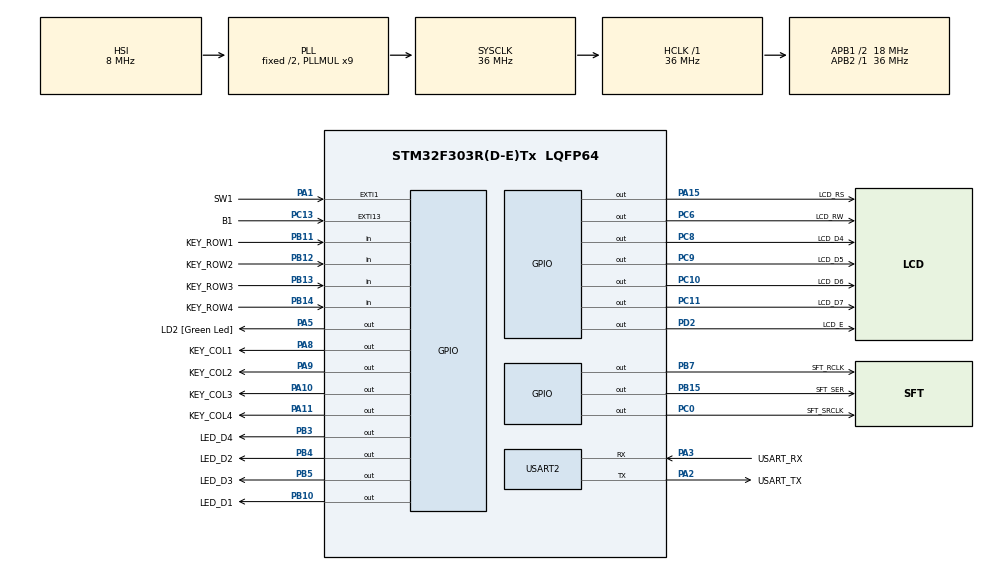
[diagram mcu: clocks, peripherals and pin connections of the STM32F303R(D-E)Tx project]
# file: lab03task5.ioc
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Mcu.Family=STM32F3
Mcu.Name=STM32F303R(D-E)Tx
Mcu.Package=LQFP64
NVIC.EXTI15_10_IRQn=true\:0\:0\:false\:false\:true\:true\:true\:true
NVIC.EXTI1_IRQn=true\:0\:0\:false\:false\:true\:true\:true\:true
NVIC.PriorityGroup=NVIC_PRIORITYGROUP_0
NVIC.TIM6_DAC_IRQn=true\:0\:0\:false\:false\:true\:true\:true\:true
PA1.GPIO_Label=SW1
PA1.Signal=GPXTI1
PA10.GPIO_Label=KEY_COL3
PA10.Signal=GPIO_Output
PA11.GPIO_Label=KEY_COL4
PA11.Signal=GPIO_Output
PA13.GPIO_Label=TMS
PA13.Mode=Serial_Wire
PA13.Signal=SYS_JTMS-SWDIO
PA14.GPIO_Label=TCK
PA14.Mode=Serial_Wire
PA14.Signal=SYS_JTCK-SWCLK
PA15.GPIO_Label=LCD_RS
PA15.Signal=GPIO_Output
PA2.GPIO_Label=USART_TX
PA2.GPIO_Mode=GPIO_MODE_AF_PP
PA2.GPIO_PuPd=GPIO_NOPULL
PA2.GPIO_Speed=GPIO_SPEED_FREQ_LOW
PA2.Mode=Asynchronous
PA2.Signal=USART2_TX
PA3.GPIO_Label=USART_RX
PA3.GPIO_Mode=GPIO_MODE_AF_PP
PA3.GPIO_PuPd=GPIO_NOPULL
PA3.GPIO_Speed=GPIO_SPEED_FREQ_LOW
PA3.Mode=Asynchronous
PA3.Signal=USART2_RX
PA5.GPIO_Label=LD2 [Green Led]
PA5.GPIO_Mode=GPIO_MODE_OUTPUT_PP
PA5.GPIO_PuPd=GPIO_NOPULL
PA5.GPIO_Speed=GPIO_SPEED_FREQ_LOW
PA5.Signal=GPIO_Output
PA8.GPIO_Label=KEY_COL1
PA8.Signal=GPIO_Output
PA9.GPIO_Label=KEY_COL2
PA9.Signal=GPIO_Output
PB10.GPIO_Label=LED_D1
PB10.Signal=GPIO_Output
PB11.GPIO_Label=KEY_ROW1
PB11.GPIO_PuPd=GPIO_PULLDOWN
PB11.Signal=GPIO_Input
PB12.GPIO_Label=KEY_ROW2
PB12.GPIO_PuPd=GPIO_PULLDOWN
PB12.Signal=GPIO_Input
PB13.GPIO_Label=KEY_ROW3
PB13.GPIO_PuPd=GPIO_PULLDOWN
PB13.Signal=GPIO_Input
PB14.GPIO_Label=KEY_ROW4
PB14.GPIO_PuPd=GPIO_PULLDOWN
PB14.Signal=GPIO_Input
PB15.GPIO_Label=SFT_SER
PB15.Signal=GPIO_Output
PB3.GPIO_Label=LED_D4
PB3.Signal=GPIO_Output
PB4.GPIO_Label=LED_D2
PB4.Signal=GPIO_Output
PB5.GPIO_Label=LED_D3
PB5.Signal=GPIO_Output
PB7.GPIO_Label=SFT_RCLK
PB7.Signal=GPIO_Output
PC0.GPIO_Label=SFT_SRCLK
PC0.Signal=GPIO_Output
PC10.GPIO_Label=LCD_D6
PC10.Signal=GPIO_Output
PC11.GPIO_Label=LCD_D7
PC11.Signal=GPIO_Output
PC13.GPIO_Label=B1
PC13.Signal=GPXTI13
PC14-OSC32_IN.Mode=LSE-External-Oscillator
PC14-OSC32_IN.Signal=RCC_OSC32_IN
PC15-OSC32_OUT.Mode=LSE-External-Oscillator
PC15-OSC32_OUT.Signal=RCC_OSC32_OUT
PC6.GPIO_Label=LCD_RW
PC6.Signal=GPIO_Output
PC8.GPIO_Label=LCD_D4
PC8.Signal=GPIO_Output
PC9.GPIO_Label=LCD_D5
PC9.Signal=GPIO_Output
PD2.GPIO_Label=LCD_E
PD2.Signal=GPIO_Output
PF0-OSC_IN.Mode=HSE-External-Clock-Source
PF0-OSC_IN.Signal=RCC_OSC_IN
PF1-OSC_OUT.Signal=RCC_OSC_OUT
ProjectManager.HeapSize=0x200
ProjectManager.StackSize=0x400
ProjectManager.TargetToolchain=STM32CubeIDE
RCC.AHBFreq_Value=36000000
RCC.APB1CLKDivider=RCC_HCLK_DIV2
RCC.APB1Freq_Value=18000000
RCC.APB1TimFreq_Value=36000000
RCC.APB2Freq_Value=36000000
RCC.APB2TimFreq_Value=36000000
RCC.CortexFreq_Value=36000000
RCC.HCLKFreq_Value=36000000
RCC.HSE_VALUE=8000000
RCC.HSI_VALUE=8000000
RCC.PLLM=8
RCC.PLLMUL=RCC_PLL_MUL9
RCC.PLLN=336
RCC.PLLP=RCC_PLLP_DIV4
RCC.PLLQ=7
RCC.RCC_PLLsource_Clock_Source_FROM_HSE=RCC_HSE_PREDIV_DIV2
RCC.SYSCLKFreq_VALUE=36000000
RCC.SYSCLKSourceVirtual=RCC_SYSCLKSOURCE_PLLCLK
RCC.USBFreq_Value=36000000
TIM6.Period=7199
TIM6.Prescaler=9999
USART2.VirtualMode-Asynchronous=VM_ASYNC
VP_TIM6_VS_ClockSourceINT.Mode=Enable_Timer
board=NUCLEO-F303RE

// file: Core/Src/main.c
/* USER CODE BEGIN Header */
/**
  ******************************************************************************
  * @file           : main.c
  * @brief          : Main program body
  ******************************************************************************
  * @attention
  *
  * Copyright (c) 2024 STMicroelectronics.
  * All rights reserved.
  *
  * This software is licensed under terms that can be found in the LICENSE file
  * in the root directory of this software component.
  * If no LICENSE file comes with this software, it is provided AS-IS.
  *
  ******************************************************************************
  */
/* USER CODE END Header */
#include "main.h"

/* USER CODE BEGIN Includes */
#include <string.h>
#include <stdio.h>
#include <stdbool.h>
/* USER CODE END Includes */

/* USER CODE BEGIN PD */
#define C_PORT GPIOA
#define R_PORT GPIOB
/* USER CODE END PD */

TIM_HandleTypeDef htim6;

UART_HandleTypeDef huart2;

/* USER CODE BEGIN PV */
uint8_t key_map[4][4] = {
		  {'1', '2', '3', 'A'},
		  {'4', '5', '6', 'B'},
		  {'7', '8', '9', 'C'},
		  {'*', '0', '#', 'D'}
};

bool is_done = false;
/* USER CODE END PV */

void SystemClock_Config(void);
static void MX_GPIO_Init(void);
static void MX_USART2_UART_Init(void);
static void MX_TIM6_Init(void);
/* USER CODE BEGIN PFP */
void LCD_putNibble(uint8_t data);
void LCD_enable();
void LCD_command(uint8_t command);
void LCD_data(uint8_t data);
void LCD_display(const char *str);
uint8_t KEY_scan(uint16_t *cols, uint16_t *rows);
bool syntax_check(uint8_t *value_arr, uint8_t counter);
uint32_t to_digit(uint8_t *value_arr, uint8_t counter);

extern void delay(uint32_t seconds);
/* USER CODE END PFP */

int main(void)
{

  /* MCU Configuration--------------------------------------------------------*/

  /* Reset of all peripherals, Initializes the Flash interface and the Systick. */
  HAL_Init();

  /* Configure the system clock */
  SystemClock_Config();

  /* Initialize all configured peripherals */
  MX_GPIO_Init();
  MX_USART2_UART_Init();
  MX_TIM6_Init();
  /* USER CODE BEGIN 2 */
  HAL_Delay(50);
  LCD_putNibble(0b0011);
  LCD_enable();
  LCD_putNibble(0b0011);
  LCD_enable();
  LCD_putNibble(0b0011);
  LCD_enable();
  LCD_putNibble(0b0010);
  LCD_enable();
  LCD_command(0b00101100);
  LCD_command(0b00001000);
  LCD_command(0b00000001);
  LCD_command(0b00000110);
  LCD_command(0b00001111);

  uint16_t col_pins[4] = { KEY_COL1_Pin, KEY_COL2_Pin, KEY_COL3_Pin, KEY_COL4_Pin };
  uint16_t row_pins[4] = { KEY_ROW1_Pin, KEY_ROW2_Pin, KEY_ROW3_Pin, KEY_ROW4_Pin };
  uint8_t value_arr[17];
  uint8_t key_value = 0;
  uint8_t counter = 0;

  /* USER CODE END 2 */

  /* Infinite loop */
  while (1)
  {

  }
}

void SystemClock_Config(void)
{
  RCC_OscInitTypeDef RCC_OscInitStruct = {0};
  RCC_ClkInitTypeDef RCC_ClkInitStruct = {0};
  RCC_PeriphCLKInitTypeDef PeriphClkInit = {0};

  /** Initializes the RCC Oscillators according to the specified parameters
  * in the RCC_OscInitTypeDef structure.
  */
  RCC_OscInitStruct.OscillatorType = RCC_OSCILLATORTYPE_HSI;
  RCC_OscInitStruct.HSIState = RCC_HSI_ON;
  RCC_OscInitStruct.HSICalibrationValue = RCC_HSICALIBRATION_DEFAULT;
  RCC_OscInitStruct.PLL.PLLState = RCC_PLL_ON;
  RCC_OscInitStruct.PLL.PLLSource = RCC_PLLSOURCE_HSI;
  RCC_OscInitStruct.PLL.PLLMUL = RCC_PLL_MUL9;
  RCC_OscInitStruct.PLL.PREDIV = RCC_PREDIV_DIV1;
  if (HAL_RCC_OscConfig(&RCC_OscInitStruct) != HAL_OK)
  {
    Error_Handler();
  }

  /** Initializes the CPU, AHB and APB buses clocks
  */
  RCC_ClkInitStruct.ClockType = RCC_CLOCKTYPE_HCLK|RCC_CLOCKTYPE_SYSCLK
                              |RCC_CLOCKTYPE_PCLK1|RCC_CLOCKTYPE_PCLK2;
  RCC_ClkInitStruct.SYSCLKSource = RCC_SYSCLKSOURCE_PLLCLK;
  RCC_ClkInitStruct.AHBCLKDivider = RCC_SYSCLK_DIV1;
  RCC_ClkInitStruct.APB1CLKDivider = RCC_HCLK_DIV2;
  RCC_ClkInitStruct.APB2CLKDivider = RCC_HCLK_DIV1;

  if (HAL_RCC_ClockConfig(&RCC_ClkInitStruct, FLASH_LATENCY_1) != HAL_OK)
  {
    Error_Handler();
  }
  PeriphClkInit.PeriphClockSelection = RCC_PERIPHCLK_USART2;
  PeriphClkInit.Usart2ClockSelection = RCC_USART2CLKSOURCE_PCLK1;
  if (HAL_RCCEx_PeriphCLKConfig(&PeriphClkInit) != HAL_OK)
  {
    Error_Handler();
  }
}

static void MX_TIM6_Init(void)
{

  TIM_MasterConfigTypeDef sMasterConfig = {0};

  htim6.Instance = TIM6;
  htim6.Init.Prescaler = 9999;
  htim6.Init.CounterMode = TIM_COUNTERMODE_UP;
  htim6.Init.Period = 7199;
  htim6.Init.AutoReloadPreload = TIM_AUTORELOAD_PRELOAD_DISABLE;
  if (HAL_TIM_Base_Init(&htim6) != HAL_OK)
  {
    Error_Handler();
  }
  sMasterConfig.MasterOutputTrigger = TIM_TRGO_RESET;
  sMasterConfig.MasterSlaveMode = TIM_MASTERSLAVEMODE_DISABLE;
  if (HAL_TIMEx_MasterConfigSynchronization(&htim6, &sMasterConfig) != HAL_OK)
  {
    Error_Handler();
  }

}

static void MX_USART2_UART_Init(void)
{

  huart2.Instance = USART2;
  huart2.Init.BaudRate = 38400;
  huart2.Init.WordLength = UART_WORDLENGTH_8B;
  huart2.Init.StopBits = UART_STOPBITS_1;
  huart2.Init.Parity = UART_PARITY_NONE;
  huart2.Init.Mode = UART_MODE_TX_RX;
  huart2.Init.HwFlowCtl = UART_HWCONTROL_NONE;
  huart2.Init.OverSampling = UART_OVERSAMPLING_16;
  huart2.Init.OneBitSampling = UART_ONE_BIT_SAMPLE_DISABLE;
  huart2.AdvancedInit.AdvFeatureInit = UART_ADVFEATURE_NO_INIT;
  if (HAL_UART_Init(&huart2) != HAL_OK)
  {
    Error_Handler();
  }

}

static void MX_GPIO_Init(void)
{
  GPIO_InitTypeDef GPIO_InitStruct = {0};

  /* GPIO Ports Clock Enable */
  __HAL_RCC_GPIOC_CLK_ENABLE();
  __HAL_RCC_GPIOF_CLK_ENABLE();
  __HAL_RCC_GPIOA_CLK_ENABLE();
  __HAL_RCC_GPIOB_CLK_ENABLE();
  __HAL_RCC_GPIOD_CLK_ENABLE();

  /*Configure GPIO pin Output Level */
  HAL_GPIO_WritePin(GPIOC, SFT_SRCLK_Pin|LCD_RW_Pin|LCD_D4_Pin|LCD_D5_Pin
                          |LCD_D6_Pin|LCD_D7_Pin, GPIO_PIN_RESET);

  /*Configure GPIO pin Output Level */
  HAL_GPIO_WritePin(GPIOA, LD2_Pin|KEY_COL1_Pin|KEY_COL2_Pin|KEY_COL3_Pin
                          |KEY_COL4_Pin|LCD_RS_Pin, GPIO_PIN_RESET);

  /*Configure GPIO pin Output Level */
  HAL_GPIO_WritePin(GPIOB, LED_D1_Pin|SFT_SER_Pin|LED_D4_Pin|LED_D2_Pin
                          |LED_D3_Pin|SFT_RCLK_Pin, GPIO_PIN_RESET);

  /*Configure GPIO pin Output Level */
  HAL_GPIO_WritePin(LCD_E_GPIO_Port, LCD_E_Pin, GPIO_PIN_RESET);

  /*Configure GPIO pin : B1_Pin */
  GPIO_InitStruct.Pin = B1_Pin;
  GPIO_InitStruct.Mode = GPIO_MODE_IT_RISING;
  GPIO_InitStruct.Pull = GPIO_NOPULL;
  HAL_GPIO_Init(B1_GPIO_Port, &GPIO_InitStruct);

  /*Configure GPIO pins : SFT_SRCLK_Pin LCD_RW_Pin LCD_D4_Pin LCD_D5_Pin
                           LCD_D6_Pin LCD_D7_Pin */
  GPIO_InitStruct.Pin = SFT_SRCLK_Pin|LCD_RW_Pin|LCD_D4_Pin|LCD_D5_Pin
                          |LCD_D6_Pin|LCD_D7_Pin;
  GPIO_InitStruct.Mode = GPIO_MODE_OUTPUT_PP;
  GPIO_InitStruct.Pull = GPIO_NOPULL;
  GPIO_InitStruct.Speed = GPIO_SPEED_FREQ_LOW;
  HAL_GPIO_Init(GPIOC, &GPIO_InitStruct);

  /*Configure GPIO pin : SW1_Pin */
  GPIO_InitStruct.Pin = SW1_Pin;
  GPIO_InitStruct.Mode = GPIO_MODE_IT_RISING;
  GPIO_InitStruct.Pull = GPIO_NOPULL;
  HAL_GPIO_Init(SW1_GPIO_Port, &GPIO_InitStruct);

  /*Configure GPIO pins : LD2_Pin KEY_COL1_Pin KEY_COL2_Pin KEY_COL3_Pin
                           KEY_COL4_Pin LCD_RS_Pin */
  GPIO_InitStruct.Pin = LD2_Pin|KEY_COL1_Pin|KEY_COL2_Pin|KEY_COL3_Pin
                          |KEY_COL4_Pin|LCD_RS_Pin;
  GPIO_InitStruct.Mode = GPIO_MODE_OUTPUT_PP;
  GPIO_InitStruct.Pull = GPIO_NOPULL;
  GPIO_InitStruct.Speed = GPIO_SPEED_FREQ_LOW;
  HAL_GPIO_Init(GPIOA, &GPIO_InitStruct);

  /*Configure GPIO pins : LED_D1_Pin SFT_SER_Pin LED_D4_Pin LED_D2_Pin
                           LED_D3_Pin SFT_RCLK_Pin */
  GPIO_InitStruct.Pin = LED_D1_Pin|SFT_SER_Pin|LED_D4_Pin|LED_D2_Pin
                          |LED_D3_Pin|SFT_RCLK_Pin;
  GPIO_InitStruct.Mode = GPIO_MODE_OUTPUT_PP;
  GPIO_InitStruct.Pull = GPIO_NOPULL;
  GPIO_InitStruct.Speed = GPIO_SPEED_FREQ_LOW;
  HAL_GPIO_Init(GPIOB, &GPIO_InitStruct);

  /*Configure GPIO pins : KEY_ROW1_Pin KEY_ROW2_Pin KEY_ROW3_Pin KEY_ROW4_Pin */
  GPIO_InitStruct.Pin = KEY_ROW1_Pin|KEY_ROW2_Pin|KEY_ROW3_Pin|KEY_ROW4_Pin;
  GPIO_InitStruct.Mode = GPIO_MODE_INPUT;
  GPIO_InitStruct.Pull = GPIO_PULLDOWN;
  HAL_GPIO_Init(GPIOB, &GPIO_InitStruct);

  /*Configure GPIO pin : LCD_E_Pin */
  GPIO_InitStruct.Pin = LCD_E_Pin;
  GPIO_InitStruct.Mode = GPIO_MODE_OUTPUT_PP;
  GPIO_InitStruct.Pull = GPIO_NOPULL;
  GPIO_InitStruct.Speed = GPIO_SPEED_FREQ_LOW;
  HAL_GPIO_Init(LCD_E_GPIO_Port, &GPIO_InitStruct);

  /* EXTI interrupt init*/
  HAL_NVIC_SetPriority(EXTI1_IRQn, 0, 0);
  HAL_NVIC_EnableIRQ(EXTI1_IRQn);

}

/* USER CODE BEGIN 4 */
void HAL_GPIO_EXTI_Callback(uint16_t GPIO_Pin) {
	if (GPIO_Pin == SW1_Pin) {
		HAL_TIM_Base_Stop_IT(&htim6);
		LCD_command(0b00000001);	// clear the LCD display

		HAL_GPIO_WritePin(SFT_SER_GPIO_Port, SFT_SER_Pin, GPIO_PIN_RESET);
		for (int i = 0; i < 16; i++) {
			HAL_GPIO_WritePin(SFT_SRCLK_GPIO_Port, SFT_SRCLK_Pin, GPIO_PIN_SET);
			HAL_GPIO_WritePin(SFT_SRCLK_GPIO_Port, SFT_SRCLK_Pin, GPIO_PIN_RESET);
		}

		HAL_GPIO_WritePin(SFT_RCLK_GPIO_Port, SFT_RCLK_Pin, GPIO_PIN_SET);
		HAL_GPIO_WritePin(SFT_RCLK_GPIO_Port, SFT_RCLK_Pin, GPIO_PIN_RESET);

		is_done = false;
	}
}

void HAL_TIM_PeriodElapsedCallback(TIM_HandleTypeDef *htim) {
	HAL_GPIO_TogglePin(SFT_SER_GPIO_Port, SFT_SER_Pin);
	for (int i = 0; i < 16; i++) {
		HAL_GPIO_WritePin(SFT_SRCLK_GPIO_Port, SFT_SRCLK_Pin, GPIO_PIN_SET);
		HAL_GPIO_WritePin(SFT_SRCLK_GPIO_Port, SFT_SRCLK_Pin, GPIO_PIN_RESET);
	}

	HAL_GPIO_WritePin(SFT_RCLK_GPIO_Port, SFT_RCLK_Pin, GPIO_PIN_SET);
	HAL_GPIO_WritePin(SFT_RCLK_GPIO_Port, SFT_RCLK_Pin, GPIO_PIN_RESET);
}

uint32_t to_digit(uint8_t *value_arr, uint8_t counter) {
	uint32_t num = 0;
	for (int i = 0; i < counter - 1; i++) {
		num = num * 10 + (value_arr[i] - '0');
	}
	return num;
}

bool syntax_check(uint8_t *value_arr, uint8_t counter) {
	uint8_t temp;
	    for (int i = 0; i < counter; i++) {
	    	temp = value_arr[i];
	    	if (temp == 'A' || temp == 'B' || temp == 'C' || temp == 'D') {
	    		return true;
	    	}
	    }
	return false;
}

void LCD_putNibble(uint8_t data) {
	HAL_GPIO_WritePin(LCD_D4_GPIO_Port, LCD_D4_Pin, data & 1);
	HAL_GPIO_WritePin(LCD_D5_GPIO_Port, LCD_D5_Pin, (data >> 1) & 1);
	HAL_GPIO_WritePin(LCD_D6_GPIO_Port, LCD_D6_Pin, (data >> 2) & 1);
	HAL_GPIO_WritePin(LCD_D7_GPIO_Port, LCD_D7_Pin, (data >> 3) & 1);
}

void LCD_enable() {
	HAL_GPIO_WritePin(LCD_E_GPIO_Port, LCD_E_Pin, 1);
	int delayCounter = 10000;
	while(delayCounter--);
	HAL_GPIO_WritePin(LCD_E_GPIO_Port, LCD_E_Pin, 0);
	delayCounter = 10000;
	while(delayCounter--);
}

void LCD_command(uint8_t command) {
	HAL_GPIO_WritePin(LCD_RS_GPIO_Port, LCD_RS_Pin, 0);
	LCD_putNibble(command >> 4);
	LCD_enable();
	LCD_putNibble(command & 0x0f);
	LCD_enable();
}

void LCD_data(uint8_t data) {
	HAL_GPIO_WritePin(LCD_RS_GPIO_Port, LCD_RS_Pin, 1);
	int delayCounter = 10000;
	while(delayCounter--);
	LCD_putNibble(data >> 4);
	LCD_enable();
	LCD_putNibble(data & 0x0f);
	LCD_enable();
	HAL_GPIO_WritePin(LCD_RS_GPIO_Port, LCD_RS_Pin, 0);
}

void LCD_display(const char *str) {

	int c = 0;
	while(*str) {
		if (c == 16) {
			LCD_command(0b11000000);
		}
		LCD_data(*str++);
		c++;
	}

}

uint8_t KEY_scan(uint16_t *cols, uint16_t *rows) {
	uint8_t key_value = 0;
	for (int i = 0; i < 4; i++) {
		HAL_GPIO_WritePin(C_PORT, cols[i], 1);
		for (int j = 0; j < 4; j++) {
			if (HAL_GPIO_ReadPin(R_PORT, rows[j])) {
				key_value = key_map[j][i];
				break;
			}
		}
		HAL_GPIO_WritePin(C_PORT, cols[i], 0);
		if (key_value != 0) {
			break;
		}
	}
	return key_value;
}
/* USER CODE END 4 */

void Error_Handler(void)
{
  __disable_irq();
  while (1)
  {
  }
}
